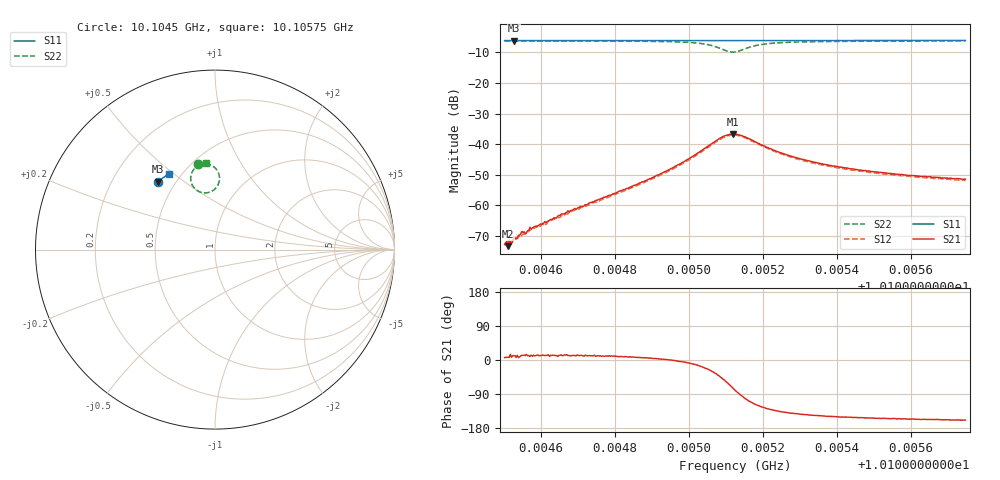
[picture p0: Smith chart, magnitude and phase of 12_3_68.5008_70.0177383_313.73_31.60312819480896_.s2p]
#  HZ  S  RI  R  50.00
! Rohde & Schwarz Vector Network Analyzer
! Rohde-Schwarz,ZNB20-2Port,1311601062101988,3.16
! Created: UTC 3/20/2024, 4:49:04 PM
! freq[Hz]  re:S11  im:S11  re:S21  im:S21  re:S12  im:S12  re:S22  im:S22
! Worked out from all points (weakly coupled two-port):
!   401 points, 10.1045 GHz to 10.10575 GHz, reference 50 ohm
!   highest |S21| = -36.68 dB at 10.10512 GHz (marker M1); lowest = -73.3 dB at 10.10451 GHz (marker M2)
!   lowest |S11| = -6.1 dB at 10.10453 GHz (marker M3), VSWR 2.94, Z = 20.2 + j20.2 ohm
!   |S11| at or under -10 dB: nowhere
!   |S22| runs from -9.9 to -6.3 dB; largest |S21 - S12| = 0.0017
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1.0104502e10  -0.3167 0.3775  0.000231 2.61e-05  0.000206 7.86e-05  -0.0974 0.4754
1.0104511e10  -0.3163 0.378  0.000213 2.76e-05  0.000232 4.26e-05  -0.0967 0.4756
1.0104517e10  -0.316 0.3781  0.00024 6.39e-05  0.000253 3.58e-05  -0.0961 0.4757
1.0104527e10  -0.3155 0.3784  0.000297 5.88e-05  0.000249 8.52e-05  -0.0952 0.476
1.0104545e10  -0.3146 0.3793  0.000338 6.53e-05  0.000294 8.45e-05  -0.0936 0.4761
1.0104561e10  -0.314 0.3799  0.000344 8.89e-05  0.000337 0.000101  -0.092 0.4762
1.0104577e10  -0.3132 0.3807  0.00042 7.34e-05  0.000415 0.000141  -0.0906 0.4767
1.010471e10  -0.307 0.386  0.000928 0.0002  0.000886 0.00026  -0.076 0.4787
1.0104919e10  -0.2971 0.3942  0.00316 0.000138  0.00302 0.000429  -0.0382 0.4765
1.010499e10  -0.2934 0.397  0.00534 -0.000551  0.00513 -7.06e-05  -0.0113 0.4644
1.0105034e10  -0.2913 0.3986  0.00748 -0.0024  0.00735 -0.00155  0.0123 0.4411
1.0105068e10  -0.2894 0.3995  0.00912 -0.00601  0.00925 -0.0048  0.0254 0.3978
1.0105096e10  -0.2881 0.4002  0.00815 -0.0109  0.00883 -0.00971  0.0055 0.3437
1.0105118e10  -0.2873 0.4007  0.00417 -0.0141  0.00541 -0.0131  -0.0433 0.3169
1.0105124e10  -0.2873 0.401  0.00259 -0.0143  0.004 -0.0135  -0.0598 0.3161
1.0105158e10  -0.2861 0.4023  -0.0035 -0.0121  -0.00213 -0.0121  -0.1237 0.3544
1.0105205e10  -0.2841 0.4044  -0.00552 -0.00741  -0.00471 -0.00759  -0.1341 0.4125
1.0105267e10  -0.2811 0.4068  -0.00498 -0.00433  -0.00443 -0.00458  -0.1179 0.4471
1.0105333e10  -0.2778 0.4093  -0.00427 -0.00291  -0.00383 -0.00317  -0.1023 0.4621
1.0105435e10  -0.2727 0.4131  -0.00347 -0.00193  -0.00317 -0.0021  -0.0849 0.4725
1.0105541e10  -0.2675 0.4169  -0.003 -0.00141  -0.00278 -0.00163  -0.0716 0.4778
1.0105747e10  -0.2572 0.4239  -0.00248 -0.00098  -0.00228 -0.00115  -0.0519 0.4829
